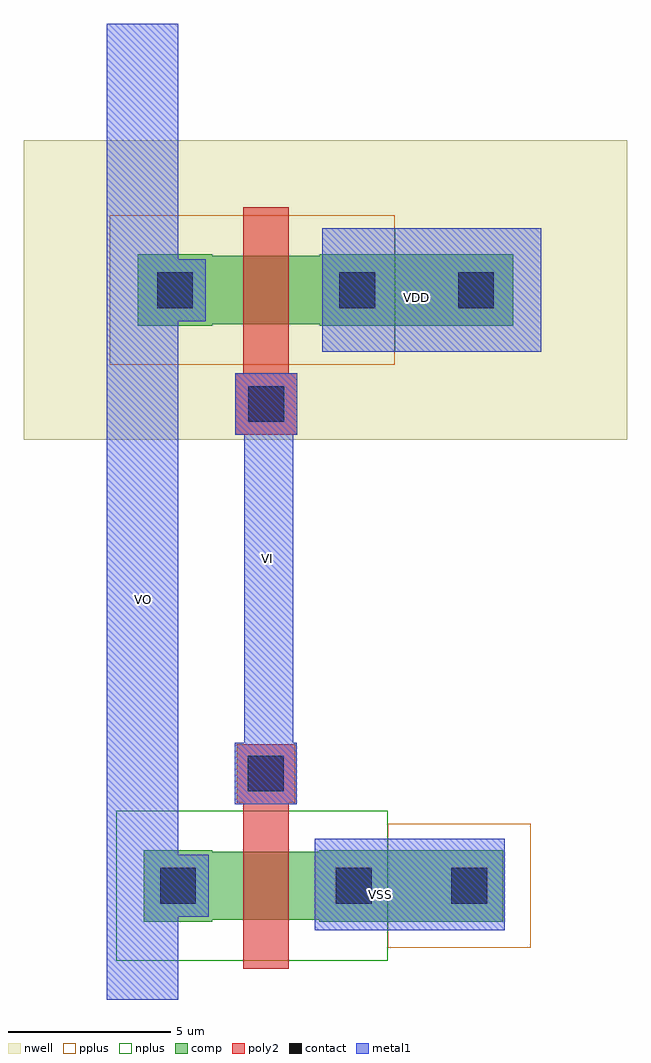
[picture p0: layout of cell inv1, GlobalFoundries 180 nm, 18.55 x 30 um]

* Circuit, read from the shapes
.subckt inv1 VDD VI VO VSS
XM1 VSS VI VO VSS nfet_03v3 w=2.1u l=1.4u
XM2 VDD VI VO VDD pfet_03v3 w=2.1u l=1.4u
.ends

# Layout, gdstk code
import gdstk
lib = gdstk.Library(unit=1e-6, precision=5e-09)
def R(c, l, rs):  # rectangles x0, y0, x1, y1
    for r in rs: c.add(gdstk.rectangle(r[:2], r[2:], *l))
nwell = (21, 0)
comp = (22, 0)
poly2 = (30, 0)
pplus = (31, 0)
nplus = (32, 0)
contact = (33, 0)
metal1 = (34, 0)

nfet = lib.new_cell('nfet')
R(nfet, comp, [(-0.42,-0.01,0,0.43), (0.66,-0.01,1.08,0.43), (1.08,-0.01,1.79,0.43), (0,0,0.66,0.42)])
R(nfet, poly2, [(0.19,-0.3,0.47,0.72), (0.15,0.72,0.51,1.08)])
R(nfet, pplus, [(1.08,-0.17,1.96,0.59)])
R(nfet, nplus, [(-0.59,-0.25,1.08,0.67)])
R(nfet, contact, [(-0.32,0.1,-0.1,0.32), (0.76,0.1,0.98,0.32), (1.47,0.1,1.69,0.32), (0.22,0.79,0.44,1.01)])
R(nfet, metal1, [(-0.4,0.02,-0.02,0.4), (0.68,0.02,1.06,0.4), (1.39,0.02,1.77,0.4), (0.14,0.71,0.52,1.09)])

pfet = lib.new_cell('pfet')
R(pfet, nwell, [(-1.16,-0.71,2.55,1.13)])
R(pfet, comp, [(-0.46,-0.01,0,0.43), (0.66,-0.01,1.12,0.43), (1.12,-0.01,1.85,0.43), (0,0,0.66,0.42)])
R(pfet, poly2, [(0.14,-0.68,0.52,-0.3), (0.19,-0.3,0.47,0.72)])
R(pfet, pplus, [(-0.63,-0.25,1.12,0.67)])
R(pfet, nplus, [(1.12,-0.17,2.02,0.59)])
R(pfet, contact, [(0.22,-0.6,0.44,-0.38), (-0.34,0.1,-0.12,0.32), (0.78,0.1,1,0.32), (1.51,0.1,1.73,0.32)])
R(pfet, metal1, [(0.14,-0.68,0.52,-0.3), (-0.42,0.02,-0.04,0.4), (0.7,0.02,1.08,0.4), (1.43,0.02,1.81,0.4)])

inv1 = lib.new_cell('inv1')
R(inv1, metal1, [(-4.77,-2.175,-2.57,27.825), (1.62,-0.04,7.47,2.76), (1.86,17.73,8.58,21.53)])
inv1.add(gdstk.FlexPath([(0.21,16.44),(0.21,4.29)], 1.5, ends="flush", simple_path=True, layer=34, datatype=0))  # metal1
inv1.add(gdstk.Reference(nfet, (-1.53,0.27), magnification=5))
inv1.add(gdstk.Reference(pfet, (-1.52,18.58), magnification=5))
inv1.add(gdstk.Label('VSS', (3.66,1.06), layer=34, texttype=10))
inv1.add(gdstk.Label('VDD', (4.76,19.4), layer=34, texttype=10))
inv1.add(gdstk.Label('VO', (-3.63,10.12), layer=34, texttype=10))
inv1.add(gdstk.Label('VI', (0.17,11.39), layer=34, texttype=10))

lib.write_gds('inv1.gds')
